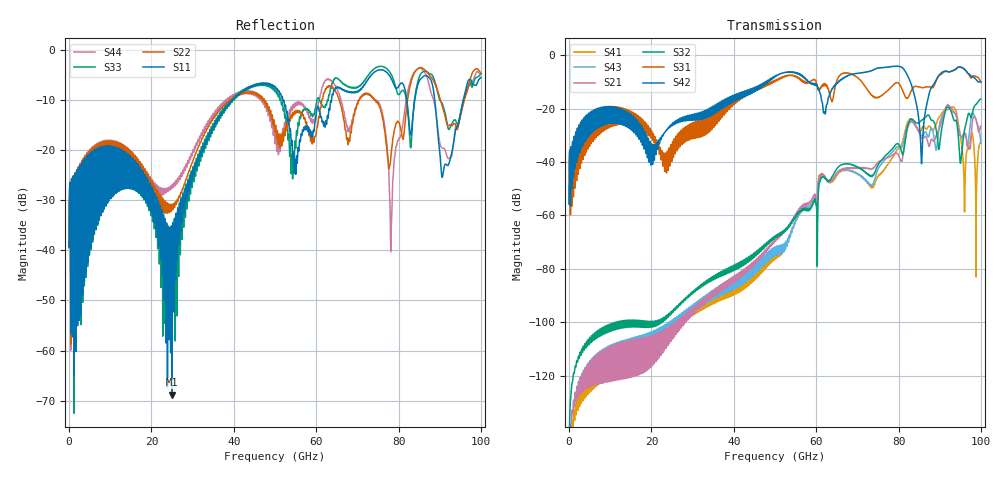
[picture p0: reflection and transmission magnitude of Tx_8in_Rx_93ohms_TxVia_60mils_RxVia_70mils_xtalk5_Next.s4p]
! Info: Touchstone file created by Circ.  Input file=Tx_8in_Rx_93ohms_TxVia_60mils_RxVia_70mils.circ
# Hz S RI R 50
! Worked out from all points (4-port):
!   10000 points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, 10 MHz to 100 GHz, reference 50 ohm
!   strongest paths, dB at 10 MHz, 25.01 GHz, 50.01 GHz, 75.01 GHz, 100 GHz:
!     S42: -55.7, -26.4, -7.9, -4.9, -10.0
!     S31: -55.6, -35.9, -9.5, -15.8, -10.1
!     S32: -156.7, -95.7, -67.7, -41.1, -16.4
!     S21: -167.4, -101.4, -69.1, -40.3, -26.6
!     S43: -158.1, -100.0, -71.8, -42.7, -32.9
!     S41: -158.4, -100.1, -74.2, -45.6, -32.9
!   lowest |S11| = -68.8 dB at 25.05 GHz (marker M1), VSWR 1.00, Z = 50 - j0.0299 ohm
!   |S11| at or under -10 dB: start of sweep to 39.63 GHz; 52.14 GHz to 63.73 GHz (11.59 GHz wide, 20 % of centre); 88.81 GHz to 95.74 GHz (6.922 GHz wide, 7.5 % of centre)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
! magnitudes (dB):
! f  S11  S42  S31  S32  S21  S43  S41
! 10 MHz  -39.4  -55.7  -55.6  -156.7  -167.4  -158.1  -158.4
! 7.98 GHz  -19.7  -19.4  -19.6  -104.0  -112.1  -111.8  -116.1
! 25.05 GHz  -68.8  -26.2  -34.0  -95.6  -102.4  -101.3  -100.7
! 43.24 GHz  -7.5  -15.1  -15.1  -76.0  -79.4  -80.6  -83.2
! 78.18 GHz  -5.6  -4.3  -12.0  -35.6  -37.7  -36.7  -39.2
! 85.58 GHz  -5.6  -40.6  -12.1  -24.4  -31.1  -30.1  -27.8
! 100 GHz  -5.4  -10.0  -10.1  -16.4  -26.6  -32.9  -32.9
